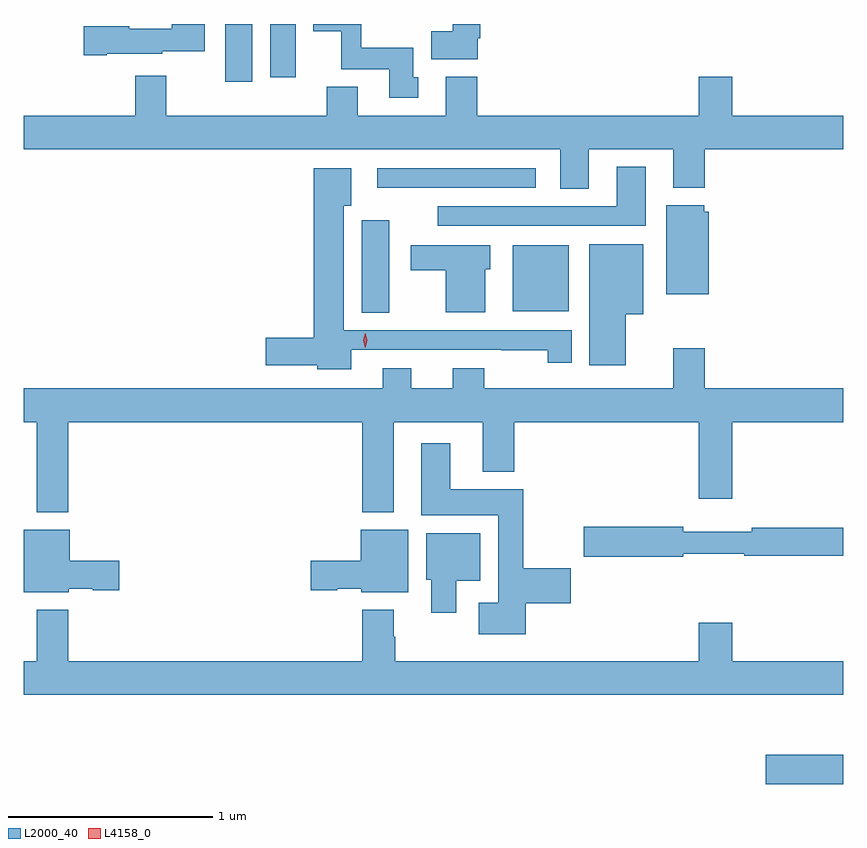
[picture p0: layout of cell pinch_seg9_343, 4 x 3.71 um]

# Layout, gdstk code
import gdstk
lib = gdstk.Library(unit=1e-6, precision=1e-09)
def R(c, l, rs):  # rectangles x0, y0, x1, y1
    for r in rs: c.add(gdstk.rectangle(r[:2], r[2:], *l))
def P(c, l, *ps):  # polygons
    for p in ps: c.add(gdstk.Polygon(p, *l))
L2000_40 = (2000, 40)
L4158_0 = (4158, 0)

pinch_seg9_343 = lib.new_cell('pinch_seg9_343')
R(pinch_seg9_343, L2000_40, [(560.94,1194.653,561.318,1194.795), (558.968,1196.953,559.102,1197.406), (559.706,1196.96,559.978,1197.283), (559.044,1197.564,559.816,1197.66), (558.302,1198.08,558.433,1198.363), (558.521,1198.104,558.646,1198.363)])
P(pinch_seg9_343, L2000_40, [(557.722,1198.217),(557.994,1198.217),(557.994,1198.229),(558.202,1198.229),(558.202,1198.363),(558.04,1198.363),(558.04,1198.339),(557.832,1198.339),(557.832,1198.352),(557.61,1198.352),(557.61,1198.21),(557.722,1198.21)],
  [(559.534,1198.294),(559.547,1198.294),(559.547,1198.363),(559.412,1198.363),(559.412,1198.328),(559.307,1198.328),(559.307,1198.19),(559.534,1198.19)],
  [(559.243,1198.104),(559.219,1198.104),(559.219,1198.246),(558.966,1198.246),(558.966,1198.363),(558.731,1198.363),(558.731,1198.328),(558.868,1198.328),(558.868,1198.142),(559.103,1198.142),(559.103,1198.002),(559.243,1198.002)],
  [(560.077,1197.752),(560.489,1197.752),(560.489,1197.563),(560.642,1197.563),(560.642,1197.752),(561.318,1197.752),(561.318,1197.916),(560.776,1197.916),(560.776,1198.105),(560.612,1198.105),(560.612,1197.916),(559.532,1197.916),(559.532,1198.105),(559.379,1198.105),(559.379,1197.916),(558.949,1197.916),(558.949,1198.057),(558.797,1198.057),(558.797,1197.916),(558.013,1197.916),(558.013,1198.111),(557.861,1198.111),(557.861,1197.916),(557.318,1197.916),(557.318,1197.752),(559.937,1197.752),(559.937,1197.559),(560.077,1197.559)],
  [(560.353,1197.667),(560.213,1197.667),(560.213,1197.474),(559.338,1197.474),(559.338,1197.378),(560.353,1197.378)],
  [(558.916,1196.772),(559.648,1196.772),(559.648,1196.771),(559.876,1196.771),(559.876,1196.709),(559.993,1196.709),(559.993,1196.868),(558.88,1196.868),(558.88,1197.476),(558.916,1197.476),(558.916,1197.658),(558.734,1197.658),(558.734,1196.831),(558.498,1196.831),(558.498,1196.696),(558.75,1196.696),(558.75,1196.678),(558.916,1196.678)],
  [(560.662,1197.447),(560.64,1197.447),(560.64,1197.478),(560.453,1197.478),(560.453,1197.044),(560.662,1197.044)],
  [(560.257,1196.945),(560.341,1196.945),(560.341,1197.289),(560.078,1197.289),(560.078,1196.696),(560.257,1196.696)],
  [(559.57,1197.165),(559.594,1197.165),(559.594,1197.283),(559.206,1197.283),(559.206,1197.161),(559.379,1197.161),(559.379,1196.957),(559.57,1196.957)],
  [(557.534,1196.42),(558.971,1196.42),(558.971,1195.979),(559.123,1195.979),(559.123,1196.42),(559.559,1196.42),(559.559,1196.177),(559.712,1196.177),(559.712,1196.42),(560.612,1196.42),(560.612,1196.046),(560.776,1196.046),(560.776,1196.42),(561.318,1196.42),(561.318,1196.584),(560.642,1196.584),(560.642,1196.779),(560.489,1196.779),(560.489,1196.584),(559.565,1196.584),(559.565,1196.683),(559.412,1196.683),(559.412,1196.584),(559.21,1196.584),(559.21,1196.683),(559.07,1196.683),(559.07,1196.584),(557.318,1196.584),(557.318,1196.42),(557.381,1196.42),(557.381,1195.979),(557.534,1195.979)],
  [(559.769,1195.535),(559.987,1195.535),(559.987,1195.706),(559.756,1195.706),(559.756,1196.092),(559.399,1196.092),(559.399,1196.317),(559.259,1196.317),(559.259,1195.964),(559.634,1195.964),(559.634,1195.537),(559.539,1195.537),(559.539,1195.385),(559.769,1195.385)],
  [(560.536,1195.776),(560.836,1195.776),(560.836,1195.768),(561.318,1195.768),(561.318,1195.904),(560.872,1195.904),(560.872,1195.885),(560.536,1195.885),(560.536,1195.91),(560.052,1195.91),(560.052,1195.763),(560.536,1195.763)],
  [(557.538,1195.607),(557.655,1195.607),(557.655,1195.6),(557.785,1195.6),(557.785,1195.742),(557.542,1195.742),(557.542,1195.894),(557.318,1195.894),(557.318,1195.589),(557.538,1195.589)],
  [(559.195,1195.894),(558.962,1195.894),(558.962,1195.742),(558.72,1195.742),(558.72,1195.6),(558.849,1195.6),(558.849,1195.607),(558.966,1195.607),(558.966,1195.589),(559.195,1195.589)],
  [(559.429,1195.646),(559.546,1195.646),(559.546,1195.876),(559.283,1195.876),(559.283,1195.65),(559.307,1195.65),(559.307,1195.488),(559.429,1195.488)],
  [(561.318,1195.252),(560.776,1195.252),(560.776,1195.441),(560.612,1195.441),(560.612,1195.252),(559.131,1195.252),(559.131,1195.373),(559.123,1195.373),(559.123,1195.504),(558.971,1195.504),(558.971,1195.252),(557.534,1195.252),(557.534,1195.504),(557.381,1195.504),(557.381,1195.252),(557.318,1195.252),(557.318,1195.088),(561.318,1195.088)])
P(pinch_seg9_343, L4158_0, [(558.985,1196.783),(558.985,1196.783),(558.975,1196.819),(558.985,1196.854),(558.985,1196.854),(558.985,1196.854),(558.995,1196.819),(558.985,1196.783)])

lib.write_gds('pinch_seg9_343.gds')
